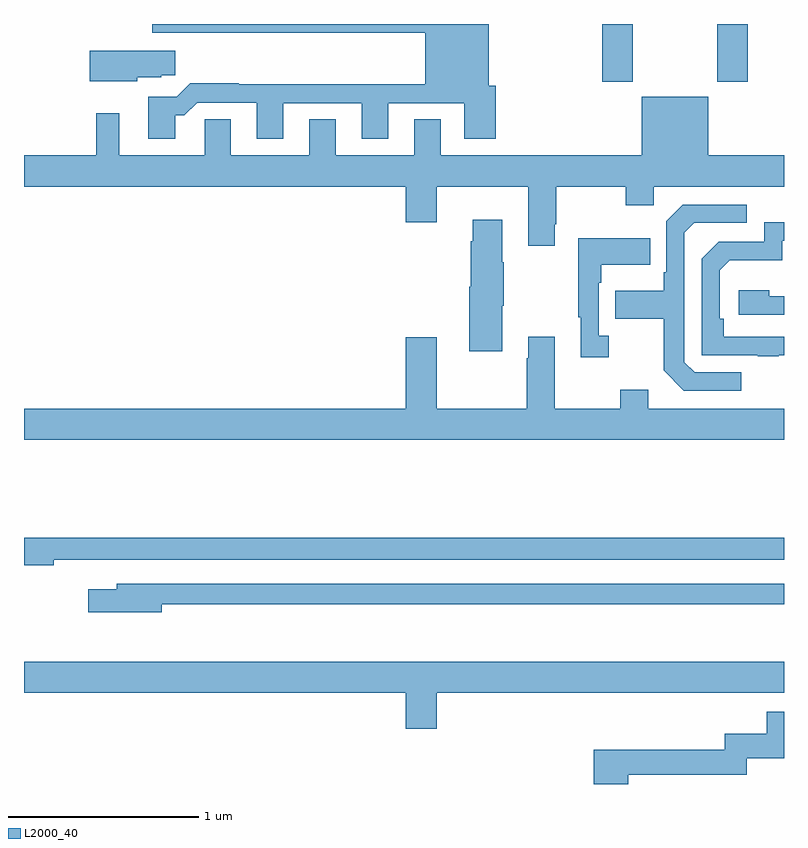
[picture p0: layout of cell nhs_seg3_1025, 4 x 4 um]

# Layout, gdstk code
import gdstk
lib = gdstk.Library(unit=1e-6, precision=1e-09)
def R(c, l, rs):  # rectangles x0, y0, x1, y1
    for r in rs: c.add(gdstk.rectangle(r[:2], r[2:], *l))
def P(c, l, *ps):  # polygons
    for p in ps: c.add(gdstk.Polygon(p, *l))
L2000_40 = (2000, 40)

nhs_seg3_1025 = lib.new_cell('nhs_seg3_1025')
R(nhs_seg3_1025, L2000_40, [(166.043,740.097,166.203,740.4), (166.648,740.097,166.808,740.4)])
P(nhs_seg3_1025, L2000_40, [(163.795,739.919),(163.844,739.919),(163.911,739.986),(164.225,739.986),(164.225,739.797),(164.365,739.797),(164.365,739.983),(164.777,739.983),(164.777,739.797),(164.917,739.797),(164.917,739.983),(165.317,739.983),(165.317,739.797),(165.482,739.797),(165.482,740.076),(165.445,740.076),(165.445,740.4),(163.676,740.4),(163.676,740.354),(165.113,740.354),(165.113,740.084),(164.129,740.084),(164.129,740.087),(163.874,740.087),(163.803,740.016),(163.655,740.016),(163.655,739.797),(163.795,739.797)],
  [(163.596,740.12),(163.722,740.12),(163.722,740.131),(163.795,740.131),(163.795,740.26),(163.346,740.26),(163.346,740.099),(163.596,740.099)],
  [(166.25,739.708),(165.193,739.708),(165.193,739.898),(165.053,739.898),(165.053,739.708),(164.641,739.708),(164.641,739.898),(164.501,739.898),(164.501,739.708),(164.089,739.708),(164.089,739.898),(163.95,739.898),(163.95,739.708),(163.501,739.708),(163.501,739.93),(163.38,739.93),(163.38,739.708),(163,739.708),(163,739.544),(165.008,739.544),(165.008,739.356),(165.172,739.356),(165.172,739.544),(165.653,739.544),(165.653,739.233),(165.793,739.233),(165.793,739.345),(165.801,739.345),(165.801,739.544),(166.168,739.544),(166.168,739.445),(166.314,739.445),(166.314,739.544),(167,739.544),(167,739.708),(166.6,739.708),(166.6,740.017),(166.25,740.017)],
  [(166.774,738.567),(166.53,738.567),(166.476,738.621),(166.476,739.302),(166.527,739.353),(166.804,739.353),(166.804,739.449),(166.467,739.449),(166.38,739.362),(166.38,739.093),(166.368,739.093),(166.368,738.997),(166.111,738.997),(166.111,738.85),(166.368,738.85),(166.368,738.577),(166.473,738.471),(166.774,738.471)],
  [(165.517,738.917),(165.525,738.917),(165.525,739.145),(165.517,739.145),(165.517,739.369),(165.362,739.369),(165.362,739.256),(165.35,739.256),(165.35,739.017),(165.344,739.017),(165.344,738.677),(165.517,738.677)],
  [(166.973,738.657),(167,738.657),(167,738.753),(166.682,738.753),(166.682,738.85),(166.662,738.85),(166.662,739.104),(166.715,739.157),(166.992,739.157),(166.992,739.26),(167,739.26),(167,739.356),(166.896,739.356),(166.896,739.254),(166.656,739.254),(166.566,739.164),(166.566,738.657),(166.861,738.657),(166.861,738.652),(166.973,738.652)],
  [(166.078,738.758),(166.026,738.758),(166.026,739.037),(166.039,739.037),(166.039,739.133),(166.295,739.133),(166.295,739.273),(165.918,739.273),(165.918,738.857),(165.929,738.857),(165.929,738.645),(166.078,738.645)],
  [(167,738.966),(166.922,738.966),(166.922,739),(166.761,739),(166.761,738.87),(167,738.87)],
  [(167,738.376),(166.285,738.376),(166.285,738.475),(166.138,738.475),(166.138,738.376),(165.793,738.376),(165.793,738.754),(165.653,738.754),(165.653,738.641),(165.646,738.641),(165.646,738.376),(165.172,738.376),(165.172,738.751),(165.008,738.751),(165.008,738.376),(163,738.376),(163,738.212),(167,738.212)],
  [(163.156,737.579),(163.35,737.579),(163.35,737.58),(167,737.58),(167,737.696),(163,737.696),(163,737.552),(163.156,737.552)],
  [(163.726,737.346),(167,737.346),(167,737.454),(163.487,737.454),(163.487,737.425),(163.338,737.425),(163.338,737.303),(163.726,737.303)],
  [(165.172,736.88),(167,736.88),(167,737.044),(163,737.044),(163,736.88),(165.008,736.88),(165.008,736.692),(165.172,736.692)],
  [(166.181,736.45),(166.803,736.45),(166.803,736.535),(167,736.535),(167,736.78),(166.91,736.78),(166.91,736.664),(166.687,736.664),(166.687,736.579),(165.998,736.579),(165.998,736.4),(166.181,736.4)])

lib.write_gds('nhs_seg3_1025.gds')
